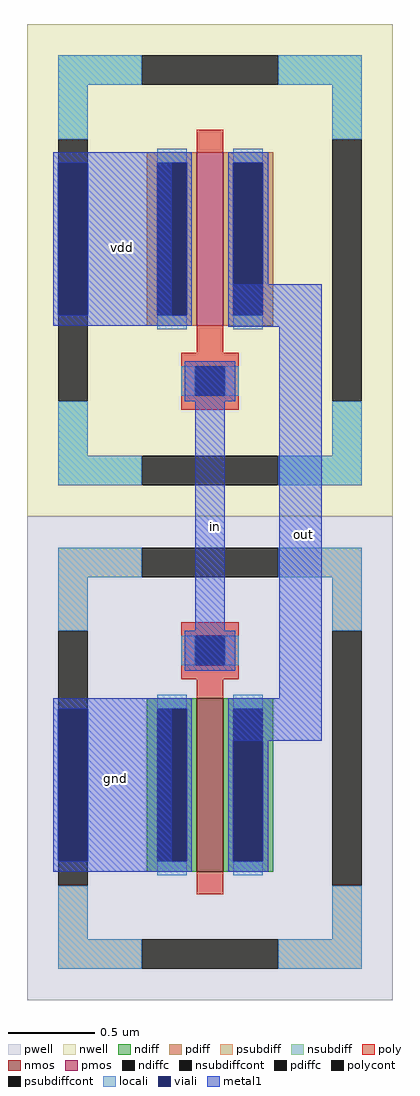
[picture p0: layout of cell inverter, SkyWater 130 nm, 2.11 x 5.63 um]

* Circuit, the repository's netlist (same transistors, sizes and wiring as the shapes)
** sch_path: /home/nsptrq/newproject/inverter/inverter.sch
.subckt inverter vdd in gnd out
*.PININFO vdd:I in:I gnd:I out:O
XM1 out in gnd gnd sky130_fd_pr__nfet_01v8 L=0.15 W=1 nf=1 m=1
XM2 out in vdd vdd sky130_fd_pr__pfet_01v8 L=0.15 W=1 nf=1 m=1
.ends
.end

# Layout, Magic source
magic
tech sky130A
magscale 1 2
<< viali >>
rect -17 799 17 975
rect -17 169 17 345
<< metal1 >>
rect -23 975 114 987
rect -23 799 -17 975
rect 17 799 114 975
rect -23 787 114 799
rect 179 786 287 835
rect 141 395 175 740
rect 238 357 287 786
rect -23 345 114 357
rect -23 169 -17 345
rect 17 169 114 345
rect 180 308 287 357
rect -23 157 114 169
use sky130_fd_pr__nfet_01v8_64Z3AY  XM1
transform 1 0 158 0 1 288
box -211 -279 211 279
use sky130_fd_pr__pfet_01v8_LGS3BL  XM2
transform 1 0 158 0 1 851
box -211 -284 211 284
<< labels >>
flabel metal1 57 877 57 877 0 FreeSans 160 0 0 0 vdd
port 0 nsew
flabel metal1 49 265 49 265 0 FreeSans 160 0 0 0 gnd
port 1 nsew
flabel metal1 266 546 266 546 0 FreeSans 160 0 0 0 out
port 2 nsew
flabel metal1 164 555 164 555 0 FreeSans 160 0 0 0 in
port 3 nsew
<< end >>

# cell sky130_fd_pr__nfet_01v8_64Z3AY: kit device sky130_fd_pr__nfet_01v8, w 1.0 l 0.15 m 1 nf 1 diffcov 100 polycov 100 guard 1 glc 1 grc 1 gtc 1 gbc 1 tbcov 100 rlcov 100 topc 1 botc 0 poverlap 0 doverlap 1 lmin 0.15 wmin 0.42 compatible {sky130_fd_pr__nfet_01v8 sky130_fd_pr__nfet_01v8_lvt sky130_fd_bs_flash__special_sonosfet_star sky130_fd_pr__nfet_g5v0d10v5 sky130_fd_pr__nfet_05v0_nvt sky130_fd_pr__nfet_03v3_nvt} full_metal 1 viasrc 100 viadrn 100 viagate 100 viagb 0 viagr 0 viagl 0 viagt 0

# cell sky130_fd_pr__pfet_01v8_LGS3BL: kit device sky130_fd_pr__pfet_01v8, w 1.0 l 0.15 m 1 nf 1 diffcov 100 polycov 100 guard 1 glc 1 grc 1 gtc 1 gbc 1 tbcov 100 rlcov 100 topc 0 botc 1 poverlap 0 doverlap 1 lmin 0.15 wmin 0.42 compatible {sky130_fd_pr__pfet_01v8 sky130_fd_pr__pfet_01v8_lvt sky130_fd_pr__pfet_01v8_hvt sky130_fd_pr__pfet_g5v0d10v5} full_metal 1 viasrc 100 viadrn 100 viagate 100 viagb 0 viagr 0 viagl 0 viagt 0
